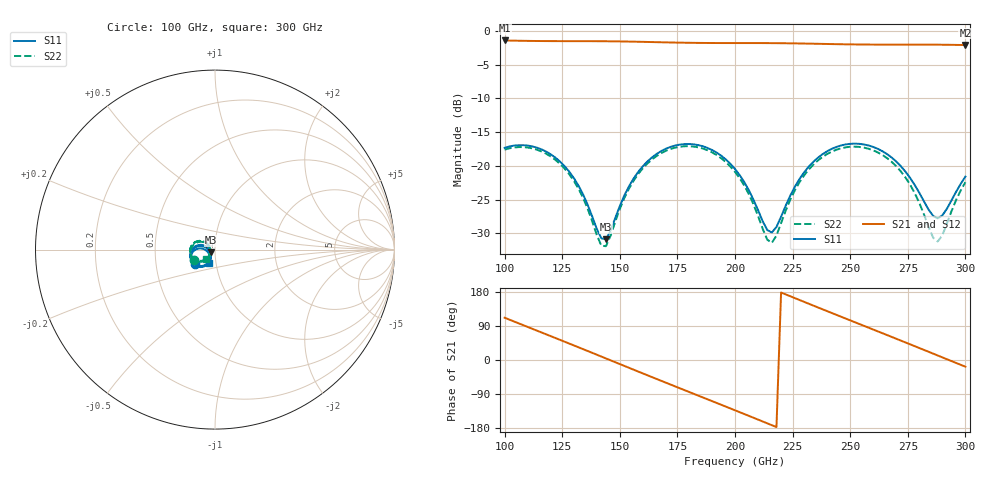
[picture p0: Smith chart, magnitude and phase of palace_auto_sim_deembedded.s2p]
! Created with skrf 1.11.0 (http://scikit-rf.org).
# GHz S DB R 50.0
!freq dBS11 angS11 dBS21 angS21 dBS12 angS12 dBS22 angS22
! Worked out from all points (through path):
!   101 points, 100 GHz to 300 GHz, reference 50 ohm
!   highest |S21| = -1.43 dB at 100 GHz (marker M1); lowest = -2.1 dB at 300 GHz (marker M2)
!   group delay of S21, straight-line fit = 6.8 ps
!   lowest |S11| = -30.9 dB at 144 GHz (marker M3), VSWR 1.06, Z = 47.6 - j1.37 ohm
!   |S11| at or under -10 dB: start of sweep to end of sweep
!   |S22| runs from -31.9 to -17.1 dB; largest |S21 - S12| = 9.6e-14
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100  -17.34 -144.5  -1.43 111.6  -1.43 111.6  -17.61 -154.2
108  -16.94 -160.7  -1.49 92.1  -1.49 92.1  -17.23 -171.4
116  -17.57 -176.5  -1.52 72.7  -1.52 72.7  -17.87 171.8
126  -20.04 166.0  -1.53 48.4  -1.53 48.4  -20.40 153.0
134  -24.21 159.1  -1.53 28.8  -1.53 28.8  -24.71 144.7
142  -30.76 -170.1  -1.55 9.1  -1.55 9.1  -31.85 176.4
144  -30.88 -149.7  -1.55 4.1  -1.55 4.1  -31.91 -161.1
156  -21.88 -117.3  -1.61 -25.6  -1.61 -25.6  -22.20 -130.4
168  -17.82 -135.2  -1.70 -55.0  -1.70 -55.0  -18.12 -150.5
176  -16.86 -150.2  -1.76 -74.5  -1.76 -74.5  -17.18 -166.6
184  -16.93 -165.3  -1.79 -93.9  -1.79 -93.9  -17.26 177.1
200  -20.47 168.4  -1.82 -132.7  -1.82 -132.7  -20.90 147.9
216  -29.88 -151.2  -1.83 -172.0  -1.83 -172.0  -31.41 -170.4
226  -23.09 -114.3  -1.87 163.3  -1.87 163.3  -23.62 -132.7
234  -19.41 -121.3  -1.91 143.6  -1.91 143.6  -19.83 -142.0
244  -17.21 -137.4  -1.98 119.2  -1.98 119.2  -17.62 -160.2
252  -16.72 -151.5  -2.02 99.8  -2.02 99.8  -17.16 -176.1
260  -17.21 -165.4  -2.04 80.4  -2.04 80.4  -17.71 168.1
268  -18.78 -177.7  -2.05 61.0  -2.05 61.0  -19.41 153.6
276  -21.79 175.4  -2.05 41.4  -2.05 41.4  -22.80 143.3
288  -27.77 -148.9  -2.06 11.9  -2.06 11.9  -31.22 -172.7
300  -21.60 -114.2  -2.11 -17.7  -2.11 -17.7  -22.42 -134.3
